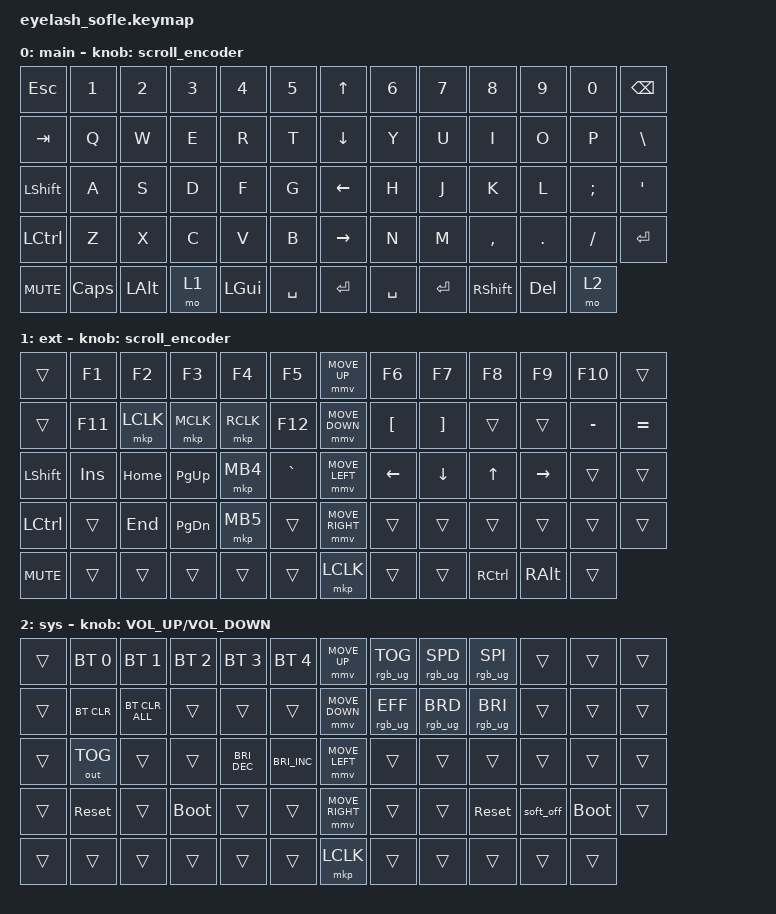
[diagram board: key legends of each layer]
#define ZMK_POINTING_DEFAULT_MOVE_VAL 1200  // 600
#define ZMK_POINTING_DEFAULT_SCRL_VAL 35    // 10
#include <input/processors.dtsi>
#include <behaviors.dtsi>
#include <dt-bindings/zmk/bt.h>
#include <dt-bindings/zmk/keys.h>
#include <dt-bindings/zmk/outputs.h>
#include <dt-bindings/zmk/pointing.h>
#include <dt-bindings/zmk/ext_power.h>
#include <dt-bindings/zmk/rgb.h>
#include <zephyr/dt-bindings/input/input-event-codes.h>

/ {
  zip_scroll_scaler: zip_scroll_scaler {
    compatible = "zmk,input-processor-scaler";
    #input-processor-cells = <2>;
    type = <INPUT_EV_REL>;
    codes = <INPUT_REL_WHEEL INPUT_REL_HWHEEL>;
    track-remainders;
  };
};

&mmv_input_listener {
       input-processors = <&zip_xy_scaler 2 1>;
};

&msc_input_listener {
       input-processors = <&zip_scroll_scaler 2 1>;
};

&msc {
    acceleration-exponent = <0>;      // 0
    time-to-max-speed-ms = <0>;       // 300
    delay-ms = <0>;                   // 0
};

&mmv {
    time-to-max-speed-ms = <400>;
    acceleration-exponent = <1>;
};


/ {
    scroll_encoder: scroll_encoder {
        compatible = "zmk,behavior-sensor-rotate";
        #sensor-binding-cells = <0>;
        bindings = <&msc SCRL_DOWN>, <&msc SCRL_UP>;

        tap-ms = <30>;
    };

    keymap {
        compatible = "zmk,keymap";

        main {
            bindings = <
&kp ESC           &kp N1    &kp N2        &kp N3  &kp N4        &kp N5       &kp UP_ARROW     &kp N6     &kp N7     &kp N8           &kp N9      &kp N0    &kp BACKSPACE
&kp TAB           &kp Q     &kp W         &kp E   &kp R         &kp T        &kp DOWN_ARROW   &kp Y      &kp U      &kp I            &kp O       &kp P     &kp BSLH
&kp LEFT_SHIFT    &kp A     &kp S         &kp D   &kp F         &kp G        &kp LEFT_ARROW   &kp H      &kp J      &kp K            &kp L       &kp SEMI  &kp APOS
&kp LEFT_CONTROL  &kp Z     &kp X         &kp C   &kp V         &kp B        &kp RIGHT_ARROW  &kp N      &kp M      &kp COMMA        &kp DOT     &kp FSLH  &kp ENTER
&kp C_MUTE        &kp CAPS  &kp LEFT_ALT  &mo 1   &kp LEFT_GUI  &kp SPACE    &kp ENTER        &kp SPACE  &kp ENTER  &kp RIGHT_SHIFT  &kp DELETE  &mo 2
            >;

            sensor-bindings = <&scroll_encoder>;
            display-name = "main";
        };

        ext {
            bindings = <
&trans            &kp F1      &kp F2     &kp F3         &kp F4     &kp F5       &mmv MOVE_UP     &kp F6            &kp F7             &kp F8             &kp F9         &kp F10    &trans
&trans            &kp F11     &mkp LCLK  &mkp MCLK      &mkp RCLK  &kp F12      &mmv MOVE_DOWN   &kp LEFT_BRACKET  &kp RIGHT_BRACKET  &trans             &trans         &kp MINUS  &kp EQUAL
&kp LEFT_SHIFT    &kp INSERT  &kp HOME   &kp PAGE_UP    &mkp MB4   &kp GRAVE    &mmv MOVE_LEFT   &kp LEFT_ARROW    &kp DOWN_ARROW     &kp UP_ARROW       &kp RIGHT      &trans     &trans
&kp LEFT_CONTROL  &trans      &kp END    &kp PAGE_DOWN  &mkp MB5   &trans       &mmv MOVE_RIGHT  &trans            &trans             &trans             &trans         &trans     &trans
&kp C_MUTE        &trans      &trans     &trans         &trans     &trans       &mkp LCLK        &trans            &trans             &kp RIGHT_CONTROL  &kp RIGHT_ALT  &trans
            >;

            sensor-bindings = <&scroll_encoder>;
            display-name = "ext";
        };

        sys {
            bindings = <
&trans  &bt BT_SEL 0  &bt BT_SEL 1    &bt BT_SEL 2  &bt BT_SEL 3          &bt BT_SEL 4            &mmv MOVE_UP     &rgb_ug RGB_TOG  &rgb_ug RGB_SPD  &rgb_ug RGB_SPI  &trans     &trans       &trans
&trans  &bt BT_CLR    &bt BT_CLR_ALL  &trans        &trans                &trans                  &mmv MOVE_DOWN   &rgb_ug RGB_EFF  &rgb_ug RGB_BRD  &rgb_ug RGB_BRI  &trans     &trans       &trans
&trans  &out OUT_TOG  &trans          &trans        &kp C_BRIGHTNESS_DEC  &kp C_BRIGHTNESS_INC    &mmv MOVE_LEFT   &trans           &trans           &trans           &trans     &trans       &trans
&trans  &sys_reset    &trans          &bootloader   &trans                &trans                  &mmv MOVE_RIGHT  &trans           &trans           &sys_reset       &soft_off  &bootloader  &trans
&trans  &trans        &trans          &trans        &trans                &trans                  &mkp LCLK        &trans           &trans           &trans           &trans     &trans
            >;

            sensor-bindings = <&inc_dec_kp C_VOLUME_UP C_VOLUME_DOWN>;
            label = "sys";
        };
    };
};
